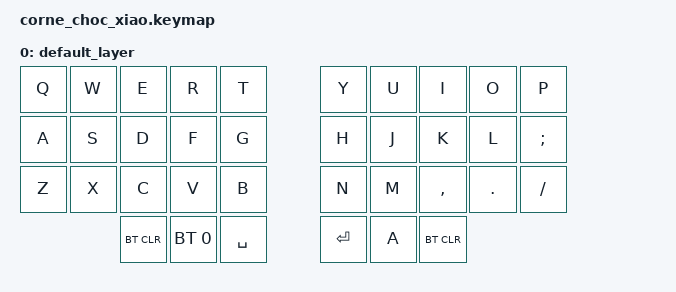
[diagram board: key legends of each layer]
#include <behaviors.dtsi>
#include <dt-bindings/zmk/keys.h>
#include <dt-bindings/zmk/bt.h>

/ {
        keymap {
                compatible = "zmk,keymap";

                default_layer {
// -----------------------------------------------------------------------------------------
// |  TAB |  Q  |  W  |  E  |  R  |  T  |   |  Y  |  U   |  I  |  O  |  P  | BKSP |
// | CTRL |  A  |  S  |  D  |  F  |  G  |   |  H  |  J   |  K  |  L  |  ;  |  '   |
// | SHFT |  Z  |  X  |  C  |  V  |  B  |   |  N  |  M   |  ,  |  .  |  /  | ESC  |
//                    | GUI | LWR | SPC |   | ENT | RSE  | ALT |
                        bindings = <
   &kp Q &kp W &kp E &kp R &kp T   &kp Y &kp U  &kp I     &kp O   &kp P    
   &kp A &kp S &kp D &kp F &kp G   &kp H &kp J  &kp K     &kp L   &kp SEMI 
   &kp Z &kp X &kp C &kp V &kp B   &kp N &kp M  &kp COMMA &kp DOT &kp FSLH 
                  &bt BT_CLR &bt BT_SEL 0 &kp SPACE   &kp RET &kp A &bt BT_CLR
                        >;
                };
        };
};
